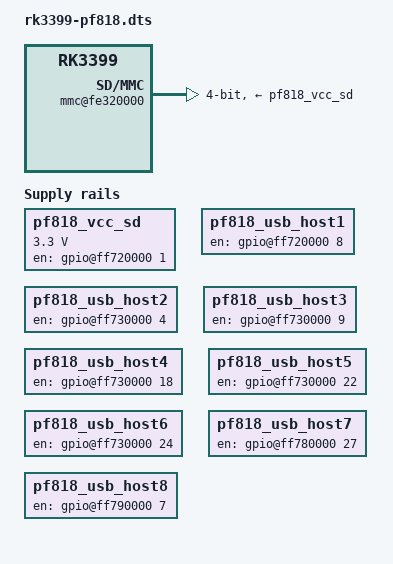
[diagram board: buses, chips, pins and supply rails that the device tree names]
// The included tree is extracted from the supplied ophub image by build_round1.py.
/include/ "../../build/round1/sw799.dts"

&{/} {
    model = "Bozztek PF818 (SW799)";
    compatible = "bozztek,pf818", "rockchip,rk3399-sw799", "rockchip,rk3399";

    // Factory DT: GPIO0_A1 switches the TF card's 3.3 V supply.
    pf818_vcc_sd: vcc-sd {
        compatible = "regulator-fixed";
        regulator-name = "vcc_sd";
        regulator-min-microvolt = <3300000>;
        regulator-max-microvolt = <3300000>;
        gpio = <&{/pinctrl/gpio@ff720000} 1 0>;
        enable-active-high;
        regulator-boot-on;
        regulator-always-on;
        pinctrl-names = "default";
        pinctrl-0 = <&pf818_sd_power>;
        vin-supply = <&{/vcc3v3-sys}>;
    };

    // The factory bozztek,usb-power driver initializes usb-host1..8 high.
    pf818-usb-host1 {
        compatible = "regulator-fixed";
        regulator-name = "pf818_usb_host1";
        gpio = <&{/pinctrl/gpio@ff720000} 8 0>;
        enable-active-high;
        regulator-boot-on;
        regulator-always-on;
        pinctrl-names = "default";
        pinctrl-0 = <&pf818_usb1>;
    };
    pf818-usb-host2 {
        compatible = "regulator-fixed";
        regulator-name = "pf818_usb_host2";
        gpio = <&{/pinctrl/gpio@ff730000} 4 0>;
        enable-active-high;
        regulator-boot-on;
        regulator-always-on;
        pinctrl-names = "default";
        pinctrl-0 = <&pf818_usb2>;
    };
    pf818-usb-host3 {
        compatible = "regulator-fixed";
        regulator-name = "pf818_usb_host3";
        gpio = <&{/pinctrl/gpio@ff730000} 9 0>;
        enable-active-high;
        regulator-boot-on;
        regulator-always-on;
        pinctrl-names = "default";
        pinctrl-0 = <&pf818_usb3>;
    };
    pf818-usb-host4 {
        compatible = "regulator-fixed";
        regulator-name = "pf818_usb_host4";
        gpio = <&{/pinctrl/gpio@ff730000} 18 0>;
        enable-active-high;
        regulator-boot-on;
        regulator-always-on;
        pinctrl-names = "default";
        pinctrl-0 = <&pf818_usb4>;
    };
    pf818-usb-host5 {
        compatible = "regulator-fixed";
        regulator-name = "pf818_usb_host5";
        gpio = <&{/pinctrl/gpio@ff730000} 22 0>;
        enable-active-high;
        regulator-boot-on;
        regulator-always-on;
        pinctrl-names = "default";
        pinctrl-0 = <&pf818_usb5>;
    };
    pf818-usb-host6 {
        compatible = "regulator-fixed";
        regulator-name = "pf818_usb_host6";
        gpio = <&{/pinctrl/gpio@ff730000} 24 0>;
        enable-active-high;
        regulator-boot-on;
        regulator-always-on;
        pinctrl-names = "default";
        pinctrl-0 = <&pf818_usb6>;
    };
    pf818-usb-host7 {
        compatible = "regulator-fixed";
        regulator-name = "pf818_usb_host7";
        gpio = <&{/pinctrl/gpio@ff780000} 27 0>;
        enable-active-high;
        regulator-boot-on;
        regulator-always-on;
        pinctrl-names = "default";
        pinctrl-0 = <&pf818_usb7>;
    };
    pf818-usb-host8 {
        compatible = "regulator-fixed";
        regulator-name = "pf818_usb_host8";
        gpio = <&{/pinctrl/gpio@ff790000} 7 0>;
        enable-active-high;
        regulator-boot-on;
        regulator-always-on;
        pinctrl-names = "default";
        pinctrl-0 = <&pf818_usb8>;
    };
};

&{/pinctrl} {
    pf818 {
        pf818_sd_power: sd-power { rockchip,pins = <0 1 0 &{/pinctrl/pcfg-pull-up}>; };
        pf818_usb1: usb1 { rockchip,pins = <0 8 0 &{/pinctrl/pcfg-pull-none}>; };
        pf818_usb2: usb2 { rockchip,pins = <1 4 0 &{/pinctrl/pcfg-pull-none}>; };
        pf818_usb3: usb3 { rockchip,pins = <1 9 0 &{/pinctrl/pcfg-pull-none}>; };
        pf818_usb4: usb4 { rockchip,pins = <1 18 0 &{/pinctrl/pcfg-pull-none}>; };
        pf818_usb5: usb5 { rockchip,pins = <1 22 0 &{/pinctrl/pcfg-pull-none}>; };
        pf818_usb6: usb6 { rockchip,pins = <1 24 0 &{/pinctrl/pcfg-pull-none}>; };
        pf818_usb7: usb7 { rockchip,pins = <2 27 0 &{/pinctrl/pcfg-pull-none}>; };
        pf818_usb8: usb8 { rockchip,pins = <4 7 0 &{/pinctrl/pcfg-pull-none}>; };
    };
};

&{/mmc@fe320000} {
    status = "okay";
    bus-width = <4>;
    max-frequency = <50000000>;
    cap-sd-highspeed;
    disable-wp;
    no-1-8-v;
    vmmc-supply = <&pf818_vcc_sd>;
    vqmmc-supply = <&{/i2c@ff3c0000/pmic@1b/regulators/LDO_REG4}>;
    pinctrl-names = "default";
    pinctrl-0 = <&{/pinctrl/sdmmc/sdmmc-bus4}
                 &{/pinctrl/sdmmc/sdmmc-clk}
                 &{/pinctrl/sdmmc/sdmmc-cmd}
                 &{/pinctrl/sdmmc/sdmmc-cd}>;
};

&{/syscon@ff770000/io-domains} {
    status = "okay";
    sdmmc-supply = <&{/i2c@ff3c0000/pmic@1b/regulators/LDO_REG4}>;
};

&{/syscon@ff770000/usb2phy@e450/host-port} {
    phy-supply = <&{/vcc5v0-sys}>;
};
&{/syscon@ff770000/usb2phy@e460/host-port} {
    phy-supply = <&{/vcc5v0-sys}>;
};

// The PF818 factory tree disables GMAC and uses the Exar USB Ethernet device.
&{/ethernet@fe300000} { status = "disabled"; };

// These SW799 carrier-specific nodes overlap the PF818 USB power controls.
&{/typec_power} { status = "disabled"; };
&{/usb_power} { status = "disabled"; };
&{/4g_module_power} { status = "disabled"; };
